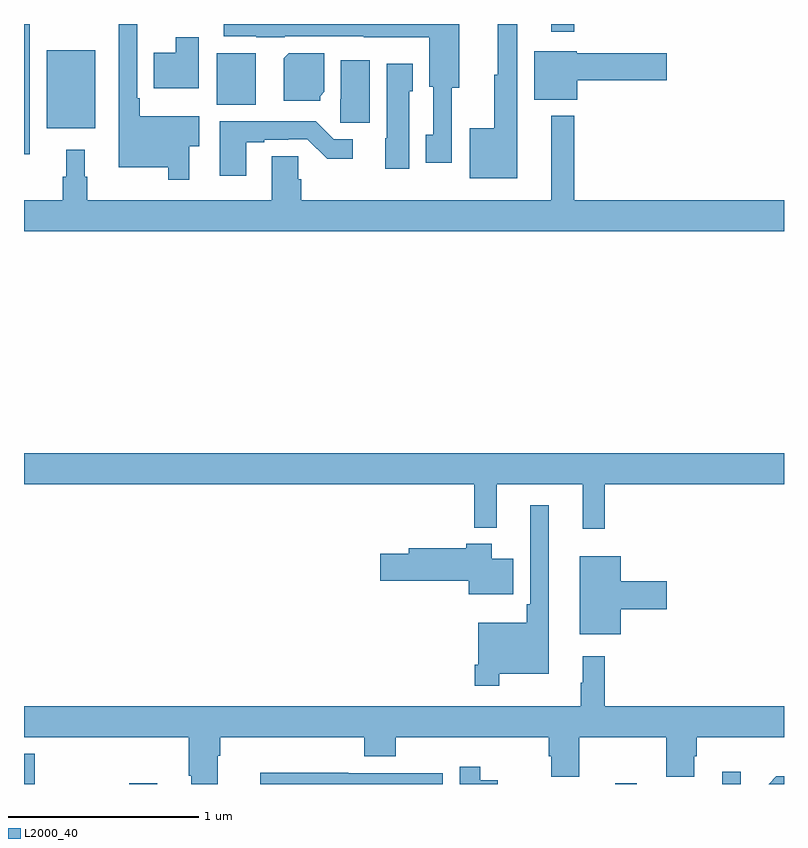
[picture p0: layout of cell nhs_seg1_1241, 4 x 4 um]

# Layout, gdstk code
import gdstk
lib = gdstk.Library(unit=1e-6, precision=1e-09)
def R(c, l, rs):  # rectangles x0, y0, x1, y1
    for r in rs: c.add(gdstk.rectangle(r[:2], r[2:], *l))
def P(c, l, *ps):  # polygons
    for p in ps: c.add(gdstk.Polygon(p, *l))
L2000_40 = (2000, 40)

nhs_seg1_1241 = lib.new_cell('nhs_seg1_1241')
R(nhs_seg1_1241, L2000_40, [(179,506.199,179.057,506.359), (179.553,506.199,179.701,506.203), (182.113,506.199,182.224,506.203), (182.675,506.199,182.772,506.263), (179,509.514,179.031,510.199), (179.12,509.651,179.374,510.061), (180.014,509.774,180.22,510.044), (181.775,510.159,181.897,510.199)])
P(nhs_seg1_1241, L2000_40, [(181.251,509.864),(181.291,509.864),(181.291,510.199),(180.05,510.199),(180.05,510.134),(180.222,510.134),(180.222,510.128),(180.372,510.128),(180.372,510.135),(180.789,510.135),(180.789,510.128),(181.133,510.128),(181.133,509.868),(181.155,509.868),(181.155,509.617),(181.115,509.617),(181.115,509.469),(181.251,509.469)],
  [(181.597,510.199),(181.493,510.199),(181.493,509.931),(181.475,509.931),(181.475,509.65),(181.346,509.65),(181.346,509.387),(181.597,509.387)],
  [(179.869,509.555),(179.923,509.555),(179.923,509.713),(179.608,509.713),(179.608,509.809),(179.595,509.809),(179.595,510.199),(179.499,510.199),(179.499,509.444),(179.76,509.444),(179.76,509.379),(179.869,509.379)],
  [(179.92,510.13),(179.798,510.13),(179.798,510.049),(179.684,510.049),(179.684,509.861),(179.92,509.861)],
  [(181.912,509.903),(182.383,509.903),(182.383,510.045),(181.908,510.045),(181.908,510.055),(181.685,510.055),(181.685,509.801),(181.912,509.801)],
  [(180.558,509.82),(180.58,509.842),(180.58,510.046),(180.394,510.046),(180.368,510.02),(180.368,509.795),(180.558,509.795)],
  [(180.82,510.007),(180.668,510.007),(180.668,509.802),(180.664,509.802),(180.664,509.679),(180.82,509.679)],
  [(181.027,509.844),(181.045,509.844),(181.045,509.989),(180.908,509.989),(180.908,509.598),(180.902,509.598),(180.902,509.436),(181.027,509.436)],
  [(183,509.272),(181.897,509.272),(181.897,509.716),(181.775,509.716),(181.775,509.272),(180.458,509.272),(180.458,509.382),(180.444,509.382),(180.444,509.504),(180.305,509.504),(180.305,509.272),(179.332,509.272),(179.332,509.396),(179.32,509.396),(179.32,509.536),(179.222,509.536),(179.222,509.396),(179.203,509.396),(179.203,509.272),(179,509.272),(179,509.108),(183,509.108)],
  [(180.169,509.577),(180.265,509.577),(180.265,509.589),(180.392,509.589),(180.392,509.592),(180.492,509.592),(180.595,509.49),(180.73,509.49),(180.73,509.592),(180.63,509.592),(180.536,509.686),(180.029,509.686),(180.029,509.4),(180.169,509.4)],
  [(182.057,507.776),(183,507.776),(183,507.94),(179,507.94),(179,507.776),(181.369,507.776),(181.369,507.548),(181.487,507.548),(181.487,507.776),(181.94,507.776),(181.94,507.543),(182.057,507.543)],
  [(181.501,506.78),(181.762,506.78),(181.762,507.667),(181.665,507.667),(181.665,507.145),(181.645,507.145),(181.645,507.049),(181.392,507.049),(181.392,506.827),(181.372,506.827),(181.372,506.715),(181.501,506.715)],
  [(181.576,507.385),(181.462,507.385),(181.462,507.463),(181.328,507.463),(181.328,507.441),(181.025,507.441),(181.025,507.411),(180.876,507.411),(180.876,507.269),(181.34,507.269),(181.34,507.197),(181.576,507.197)],
  [(182.14,507.119),(182.383,507.119),(182.383,507.266),(182.14,507.266),(182.14,507.397),(181.925,507.397),(181.925,506.987),(182.14,506.987)],
  [(180.019,506.348),(180.032,506.348),(180.032,506.444),(180.791,506.444),(180.791,506.345),(180.956,506.345),(180.956,506.444),(181.763,506.444),(181.763,506.346),(181.775,506.346),(181.775,506.236),(181.923,506.236),(181.923,506.444),(182.38,506.444),(182.38,506.236),(182.527,506.236),(182.527,506.346),(182.54,506.346),(182.54,506.444),(183,506.444),(183,506.608),(182.057,506.608),(182.057,506.872),(181.94,506.872),(181.94,506.732),(181.929,506.732),(181.929,506.608),(179,506.608),(179,506.444),(179.867,506.444),(179.867,506.242),(179.879,506.242),(179.879,506.199),(180.019,506.199)],
  [(181.494,506.22),(181.402,506.22),(181.402,506.29),(181.293,506.29),(181.293,506.199),(181.494,506.199)],
  [(181.203,506.256),(180.707,506.256),(180.707,506.258),(180.244,506.258),(180.244,506.199),(181.203,506.199)],
  [(183,506.24),(182.96,506.24),(182.919,506.199),(183,506.199)])

lib.write_gds('nhs_seg1_1241.gds')
